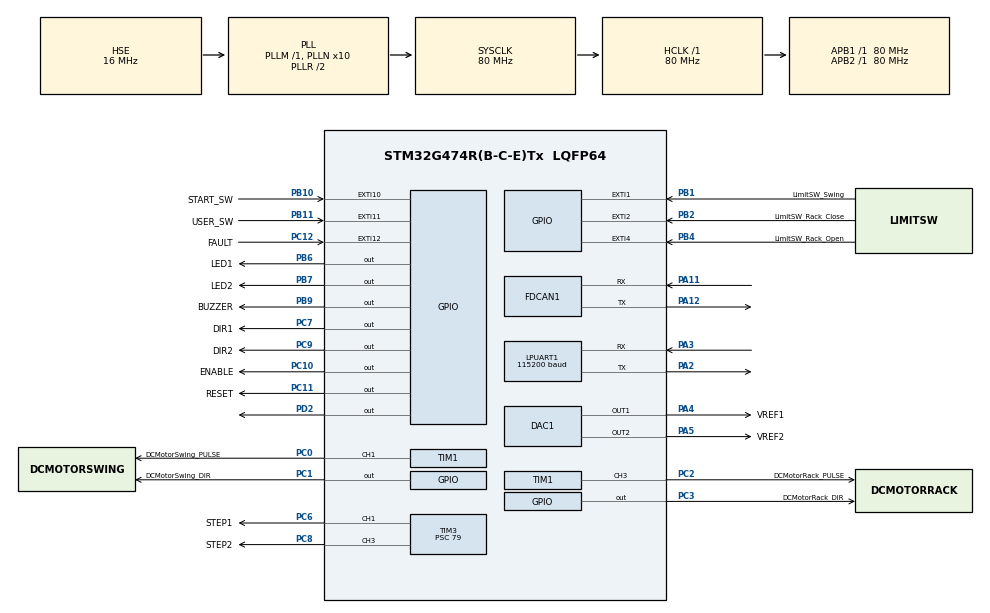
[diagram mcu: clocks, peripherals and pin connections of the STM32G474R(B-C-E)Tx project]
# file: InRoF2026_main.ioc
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DAC1.DAC_Channel-DAC_OUT2=DAC_CHANNEL_2
FDCAN1.AutoRetransmission=ENABLE
FDCAN1.CalculateBaudRateNominal=1000000
FDCAN1.CalculateTimeBitNominal=1000
FDCAN1.CalculateTimeQuantumNominal=50.0
FDCAN1.DataPrescaler=2
FDCAN1.DataTimeSeg1=15
FDCAN1.DataTimeSeg2=4
FDCAN1.FrameFormat=FDCAN_FRAME_FD_BRS
FDCAN1.NominalPrescaler=4
FDCAN1.NominalTimeSeg1=15
FDCAN1.NominalTimeSeg2=4
FDCAN1.ProtocolException=ENABLE
FDCAN1.StdFiltersNbr=5
LPUART1.BaudRate=115200
Mcu.Family=STM32G4
Mcu.Name=STM32G474R(B-C-E)Tx
Mcu.Package=LQFP64
NVIC.EXTI15_10_IRQn=true\:0\:0\:false\:false\:true\:true\:true\:true
NVIC.EXTI1_IRQn=true\:0\:0\:false\:false\:true\:true\:true\:true
NVIC.EXTI2_IRQn=true\:0\:0\:false\:false\:true\:true\:true\:true
NVIC.EXTI4_IRQn=true\:0\:0\:false\:false\:true\:true\:true\:true
NVIC.FDCAN1_IT0_IRQn=true\:0\:0\:false\:false\:true\:true\:true\:true
NVIC.FDCAN1_IT1_IRQn=true\:0\:0\:false\:false\:true\:true\:true\:true
NVIC.PriorityGroup=NVIC_PRIORITYGROUP_4
NVIC.TIM3_IRQn=true\:0\:0\:false\:false\:true\:true\:true\:true
NVIC.TIM7_DAC_IRQn=true\:6\:0\:true\:false\:true\:true\:true\:true
PA11.Mode=FDCAN_Activate
PA11.Signal=FDCAN1_RX
PA12.Mode=FDCAN_Activate
PA12.Signal=FDCAN1_TX
PA13.Mode=Serial_Wire
PA13.Signal=SYS_JTMS-SWDIO
PA14.Mode=Serial_Wire
PA14.Signal=SYS_JTCK-SWCLK
PA2.Mode=Asynchronous
PA2.Signal=LPUART1_TX
PA3.Mode=Asynchronous
PA3.Signal=LPUART1_RX
PA4.GPIO_Label=VREF1
PA4.Signal=COMP_DAC11_group
PA5.GPIO_Label=VREF2
PA5.Signal=COMP_DAC12_group
PB1.GPIO_Label=LimitSW_Swing
PB1.GPIO_ModeDefaultEXTI=GPIO_MODE_IT_FALLING
PB1.GPIO_PuPd=GPIO_PULLUP
PB1.Signal=GPXTI1
PB10.GPIO_Label=START_SW
PB10.GPIO_ModeDefaultEXTI=GPIO_MODE_IT_FALLING
PB10.GPIO_PuPd=GPIO_PULLUP
PB10.Signal=GPXTI10
PB11.GPIO_Label=USER_SW
PB11.GPIO_ModeDefaultEXTI=GPIO_MODE_IT_FALLING
PB11.GPIO_PuPd=GPIO_PULLUP
PB11.Signal=GPXTI11
PB2.GPIO_Label=LimitSW_Rack_Close
PB2.GPIO_ModeDefaultEXTI=GPIO_MODE_IT_FALLING
PB2.GPIO_PuPd=GPIO_PULLUP
PB2.Signal=GPXTI2
PB4.GPIO_Label=LimitSW_Rack_Open
PB4.GPIO_ModeDefaultEXTI=GPIO_MODE_IT_FALLING
PB4.GPIO_PuPd=GPIO_PULLUP
PB4.Signal=GPXTI4
PB6.GPIO_Label=LED1
PB6.Signal=GPIO_Output
PB7.GPIO_Label=LED2
PB7.Signal=GPIO_Output
PB9.GPIO_Label=BUZZER
PB9.Signal=GPIO_Output
PC0.GPIO_Label=DCMotorSwing_PULSE
PC0.Signal=S_TIM1_CH1
PC1.GPIO_Label=DCMotorSwing_DIR
PC1.Signal=GPIO_Output
PC10.GPIO_Label=ENABLE
PC10.Signal=GPIO_Output
PC11.GPIO_Label=RESET
PC11.Signal=GPIO_Output
PC12.GPIO_Label=FAULT
PC12.GPIO_ModeDefaultEXTI=GPIO_MODE_IT_FALLING
PC12.GPIO_PuPd=GPIO_PULLUP
PC12.Signal=GPXTI12
PC2.GPIO_Label=DCMotorRack_PULSE
PC2.Signal=S_TIM1_CH3
PC3.GPIO_Label=DCMotorRack_DIR
PC3.Signal=GPIO_Output
PC6.GPIO_Label=STEP1
PC6.Signal=S_TIM3_CH1
PC7.GPIO_Label=DIR1
PC7.Signal=GPIO_Output
PC8.GPIO_Label=STEP2
PC8.Signal=S_TIM3_CH3
PC9.GPIO_Label=DIR2
PC9.Signal=GPIO_Output
PD2.Signal=GPIO_Output
PF0-OSC_IN.Mode=HSE-External-Oscillator
PF0-OSC_IN.Signal=RCC_OSC_IN
PF1-OSC_OUT.Mode=HSE-External-Oscillator
PF1-OSC_OUT.Signal=RCC_OSC_OUT
ProjectManager.HeapSize=0x200
ProjectManager.StackSize=0x400
ProjectManager.TargetToolchain=CMake
RCC.ADC12Freq_Value=80000000
RCC.ADC345Freq_Value=80000000
RCC.AHBFreq_Value=80000000
RCC.APB1Freq_Value=80000000
RCC.APB1TimFreq_Value=80000000
RCC.APB2Freq_Value=80000000
RCC.APB2TimFreq_Value=80000000
RCC.CortexFreq_Value=80000000
RCC.EXTERNAL_CLOCK_VALUE=12288000
RCC.HCLKFreq_Value=80000000
RCC.HSE_VALUE=16000000
RCC.HSI48_VALUE=48000000
RCC.HSI_VALUE=16000000
RCC.LSE_VALUE=32768
RCC.PLLN=10
RCC.PLLSourceVirtual=RCC_PLLSOURCE_HSE
RCC.SYSCLKFreq_VALUE=80000000
RCC.SYSCLKSource=RCC_SYSCLKSOURCE_PLLCLK
RCC.USBFreq_Value=80000000
RCC.VCOOutputFreq_Value=160000000
SH.COMP_DAC11_group.0=DAC1_OUT1,DAC_OUT1
SH.COMP_DAC12_group.0=DAC1_OUT2,DAC_OUT2
SH.S_TIM1_CH1.0=TIM1_CH1,PWM Generation1 CH1
SH.S_TIM1_CH3.0=TIM1_CH3,PWM Generation3 CH3
SH.S_TIM3_CH1.0=TIM3_CH1,Output Compare1 CH1
SH.S_TIM3_CH3.0=TIM3_CH3,Output Compare3 CH3
TIM1.Channel-PWM\ Generation1\ CH1=TIM_CHANNEL_1
TIM1.Channel-PWM\ Generation3\ CH3=TIM_CHANNEL_3
TIM1.PeriodNoDither=99
TIM1.Prescaler=7999
TIM3.Channel-Output\ Compare1\ CH1=TIM_CHANNEL_1
TIM3.Channel-Output\ Compare3\ CH3=TIM_CHANNEL_3
TIM3.OCMode_1=TIM_OCMODE_TOGGLE
TIM3.OCMode_3=TIM_OCMODE_TOGGLE
TIM3.Prescaler=79
TIM7.PeriodNoDither=199
TIM7.Prescaler=79
VP_FMAC_VS_FMAC.Mode=FMAC_Activate
VP_SYS_VS_DBSignals.Mode=DisableDeadBatterySignals
VP_TIM7_VS_ClockSourceINT.Mode=Enable_Timer
board=custom

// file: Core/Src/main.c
/* USER CODE BEGIN Header */
/**
  ******************************************************************************
  * @file           : main.c
  * @brief          : Main program body
  ******************************************************************************
  * @attention
  *
  * Copyright (c) 2026 STMicroelectronics.
  * All rights reserved.
  *
  * This software is licensed under terms that can be found in the LICENSE file
  * in the root directory of this software component.
  * If no LICENSE file comes with this software, it is provided AS-IS.
  *
  ******************************************************************************
  */
/* USER CODE END Header */
#include "main.h"

/* USER CODE BEGIN Includes */
#include "algorithm.h"
#include "board.h"
#include "canrpc.h"
#include "robot_can.h"
#include "robot_control.h"
#include "sequence.h"
#include <stddef.h>
#include <stdio.h>

/* USER CODE END Includes */

/* USER CODE BEGIN PD */
#define ROBOT_START_CANRPC_TIMEOUT_MS  1000u
#define ROBOT_COLOR_READ_TIMEOUT_MS  1000u
#define ROBOT_POSITION_SQUARE_SIDE_MM  500.0f
#define ROBOT_INITIAL_POSE_X_MM        250
#define ROBOT_INITIAL_POSE_Y_MM        250
#define ROBOT_INITIAL_POSE_H_MRAD      0
#define ROBOT_ENABLE_RP2_CALIBRATION   0

#define TOPIC_POSE2D             0x10u

/* USER CODE END PD */

DAC_HandleTypeDef hdac1;

FDCAN_HandleTypeDef hfdcan1;

FMAC_HandleTypeDef hfmac;

UART_HandleTypeDef hlpuart1;

TIM_HandleTypeDef htim1;
TIM_HandleTypeDef htim3;
TIM_HandleTypeDef htim7;

void SystemClock_Config(void);
static void MX_GPIO_Init(void);
static void MX_FDCAN1_Init(void);
static void MX_FMAC_Init(void);
static void MX_DAC1_Init(void);
static void MX_TIM1_Init(void);
static void MX_TIM3_Init(void);
static void MX_LPUART1_UART_Init(void);
static void MX_TIM7_Init(void);
/* USER CODE BEGIN PFP */
static void Robot_SendStartCommandToRemoteNodes(void);
static void Robot_OnCanrpcPublish(uint8_t node, uint8_t topic, const uint8_t *data, uint8_t len);
static float Robot_PoseHeadingToNodeRad(int32_t h_mrad);
static uint16_t Robot_GetU16Le(const uint8_t *p);
static uint32_t Robot_GetU32Le(const uint8_t *p);
static int32_t Robot_GetI32Le(const uint8_t *p);

/* USER CODE END PFP */

/* USER CODE BEGIN 0 */
int _write(int file, char *ptr, int len)
{
  (void)file;
  if (len <= 0) {
    return 0;
  }

  uint32_t timeout_ms = (uint32_t)len + 20u;
  (void)HAL_UART_Transmit(&hlpuart1, (uint8_t *)ptr, (uint16_t)len, timeout_ms);
  return len;
}
/* USER CODE END 0 */

int main(void)
{

  /* MCU Configuration--------------------------------------------------------*/

  /* Reset of all peripherals, Initializes the Flash interface and the Systick. */
  HAL_Init();

  /* Configure the system clock */
  SystemClock_Config();

  /* Initialize all configured peripherals */
  MX_GPIO_Init();
  MX_FDCAN1_Init();
  MX_FMAC_Init();
  MX_DAC1_Init();
  MX_TIM1_Init();
  MX_TIM3_Init();
  MX_LPUART1_UART_Init();
  MX_TIM7_Init();
  /* USER CODE BEGIN 2 */
  Board_Init();
  Board_StepperStopAll();
  Board_DCMotorSwingStop();
  Board_DCMotorRackStop();
  canrpc_init(NODE_MASTER);
  if (!canrpc_start(NODE_MASTER)) {
    Error_Handler();
  }
  canrpc_set_pub_handler(Robot_OnCanrpcPublish);
  RobotControl_Init();
  Algorithm_SensorInit();
  if (HAL_TIM_Base_Start_IT(&htim7) != HAL_OK) {
    Error_Handler();
  }
  Board_ClearStartSwitchInterruptStatus();
  Board_WaitForStartSwitchInterrupt();
  Robot_SendStartCommandToRemoteNodes();
  Board_StepperStopAll();

  /* USER CODE END 2 */

  /* Infinite loop */
  /* USER CODE BEGIN WHILE */
  while (1) {
    RobotControl_SetCurrentPose(
        250,
        -250,
        0
    );

    //Calibrate RP1
    Sequence_CallibrateRP1();

    (void)RobotControl_IssueMoveToPose_mm_deg(300, 250, 90);
    Sequence_WaitForRobotCommand();
    (void)Algorithm_ServoOpenCloseBlocking(NULL, 100);  //Free ball
    HAL_Delay(500);

    (void)RobotControl_IssueMoveToPose_mm_deg(880, 162.5, 90);
    Board_DCMotorRackOpenUntilLimit();
    Sequence_WaitForRobotCommand();
    Sequence_CollectBalls();
    Sequence_PlaceStoredBalls();

    (void)RobotControl_IssueMoveToPose_mm_deg(1340, 162.5, 90);
    Board_DCMotorRackOpenUntilLimit();
    Sequence_WaitForRobotCommand();
    Sequence_CollectBalls();
    Sequence_IssueMoveToRP2();
    Sequence_WaitForRobotCommand();
#if ROBOT_ENABLE_RP2_CALIBRATION
    Sequence_CallibrateRP2();
#endif
    Sequence_PlaceStoredBalls();

    static const struct {
      float x_mm;
      float y_mm;
      float heading_deg;
    } robot_rp2_collection_points[] = {
        {1110.0f, 325.0f, 0.0f},
        {1570.0f, 325.0f, 0.0f},
        {1110.0f, 650.0f, 0.0f},
        {1570.0f, 650.0f, 0.0f},
        {1110.0f, 975.0f, 0.0f},
        {1570.0f, 975.0f, 0.0f},
    };

    for (size_t i = 0; i < (sizeof(robot_rp2_collection_points) / sizeof(robot_rp2_collection_points[0])); i++) {
      Sequence_IssueMoveToRP2();
      Board_DCMotorRackOpenUntilLimit();
      Sequence_WaitForRobotCommand();
      (void)RobotControl_IssueMoveToPose_mm_deg(
          robot_rp2_collection_points[i].x_mm,
          robot_rp2_collection_points[i].y_mm,
          robot_rp2_collection_points[i].heading_deg
      );
      Sequence_WaitForRobotCommand();
      Sequence_CollectBalls();
      Sequence_IssueMoveToRP2();
      Sequence_WaitForRobotCommand();
#if ROBOT_ENABLE_RP2_CALIBRATION
      Sequence_CallibrateRP2();
#endif
      Sequence_PlaceStoredBalls();
    }

    while (1){} //stop loop
  }
  /* USER CODE END 3 */
}

void SystemClock_Config(void)
{
  RCC_OscInitTypeDef RCC_OscInitStruct = {0};
  RCC_ClkInitTypeDef RCC_ClkInitStruct = {0};

  /** Configure the main internal regulator output voltage
  */
  HAL_PWREx_ControlVoltageScaling(PWR_REGULATOR_VOLTAGE_SCALE1);

  /** Initializes the RCC Oscillators according to the specified parameters
  * in the RCC_OscInitTypeDef structure.
  */
  RCC_OscInitStruct.OscillatorType = RCC_OSCILLATORTYPE_HSE;
  RCC_OscInitStruct.HSEState = RCC_HSE_ON;
  RCC_OscInitStruct.PLL.PLLState = RCC_PLL_ON;
  RCC_OscInitStruct.PLL.PLLSource = RCC_PLLSOURCE_HSE;
  RCC_OscInitStruct.PLL.PLLM = RCC_PLLM_DIV1;
  RCC_OscInitStruct.PLL.PLLN = 10;
  RCC_OscInitStruct.PLL.PLLP = RCC_PLLP_DIV2;
  RCC_OscInitStruct.PLL.PLLQ = RCC_PLLQ_DIV2;
  RCC_OscInitStruct.PLL.PLLR = RCC_PLLR_DIV2;
  if (HAL_RCC_OscConfig(&RCC_OscInitStruct) != HAL_OK)
  {
    Error_Handler();
  }

  /** Initializes the CPU, AHB and APB buses clocks
  */
  RCC_ClkInitStruct.ClockType = RCC_CLOCKTYPE_HCLK|RCC_CLOCKTYPE_SYSCLK
                              |RCC_CLOCKTYPE_PCLK1|RCC_CLOCKTYPE_PCLK2;
  RCC_ClkInitStruct.SYSCLKSource = RCC_SYSCLKSOURCE_PLLCLK;
  RCC_ClkInitStruct.AHBCLKDivider = RCC_SYSCLK_DIV1;
  RCC_ClkInitStruct.APB1CLKDivider = RCC_HCLK_DIV1;
  RCC_ClkInitStruct.APB2CLKDivider = RCC_HCLK_DIV1;

  if (HAL_RCC_ClockConfig(&RCC_ClkInitStruct, FLASH_LATENCY_2) != HAL_OK)
  {
    Error_Handler();
  }
}

static void MX_DAC1_Init(void)
{

  DAC_ChannelConfTypeDef sConfig = {0};

  /** DAC Initialization
  */
  hdac1.Instance = DAC1;
  if (HAL_DAC_Init(&hdac1) != HAL_OK)
  {
    Error_Handler();
  }

  /** DAC channel OUT1 config
  */
  sConfig.DAC_HighFrequency = DAC_HIGH_FREQUENCY_INTERFACE_MODE_AUTOMATIC;
  sConfig.DAC_DMADoubleDataMode = DISABLE;
  sConfig.DAC_SignedFormat = DISABLE;
  sConfig.DAC_SampleAndHold = DAC_SAMPLEANDHOLD_DISABLE;
  sConfig.DAC_Trigger = DAC_TRIGGER_NONE;
  sConfig.DAC_Trigger2 = DAC_TRIGGER_NONE;
  sConfig.DAC_OutputBuffer = DAC_OUTPUTBUFFER_ENABLE;
  sConfig.DAC_ConnectOnChipPeripheral = DAC_CHIPCONNECT_EXTERNAL;
  sConfig.DAC_UserTrimming = DAC_TRIMMING_FACTORY;
  if (HAL_DAC_ConfigChannel(&hdac1, &sConfig, DAC_CHANNEL_1) != HAL_OK)
  {
    Error_Handler();
  }

  /** DAC channel OUT2 config
  */
  if (HAL_DAC_ConfigChannel(&hdac1, &sConfig, DAC_CHANNEL_2) != HAL_OK)
  {
    Error_Handler();
  }

}

static void MX_FDCAN1_Init(void)
{

  hfdcan1.Instance = FDCAN1;
  hfdcan1.Init.ClockDivider = FDCAN_CLOCK_DIV1;
  hfdcan1.Init.FrameFormat = FDCAN_FRAME_FD_BRS;
  hfdcan1.Init.Mode = FDCAN_MODE_NORMAL;
  hfdcan1.Init.AutoRetransmission = ENABLE;
  hfdcan1.Init.TransmitPause = DISABLE;
  hfdcan1.Init.ProtocolException = ENABLE;
  hfdcan1.Init.NominalPrescaler = 4;
  hfdcan1.Init.NominalSyncJumpWidth = 1;
  hfdcan1.Init.NominalTimeSeg1 = 15;
  hfdcan1.Init.NominalTimeSeg2 = 4;
  hfdcan1.Init.DataPrescaler = 2;
  hfdcan1.Init.DataSyncJumpWidth = 1;
  hfdcan1.Init.DataTimeSeg1 = 15;
  hfdcan1.Init.DataTimeSeg2 = 4;
  hfdcan1.Init.StdFiltersNbr = 5;
  hfdcan1.Init.ExtFiltersNbr = 0;
  hfdcan1.Init.TxFifoQueueMode = FDCAN_TX_FIFO_OPERATION;
  if (HAL_FDCAN_Init(&hfdcan1) != HAL_OK)
  {
    Error_Handler();
  }

}

static void MX_FMAC_Init(void)
{

  hfmac.Instance = FMAC;
  if (HAL_FMAC_Init(&hfmac) != HAL_OK)
  {
    Error_Handler();
  }

}

static void MX_LPUART1_UART_Init(void)
{

  hlpuart1.Instance = LPUART1;
  hlpuart1.Init.BaudRate = 115200;
  hlpuart1.Init.WordLength = UART_WORDLENGTH_8B;
  hlpuart1.Init.StopBits = UART_STOPBITS_1;
  hlpuart1.Init.Parity = UART_PARITY_NONE;
  hlpuart1.Init.Mode = UART_MODE_TX_RX;
  hlpuart1.Init.HwFlowCtl = UART_HWCONTROL_NONE;
  hlpuart1.Init.OneBitSampling = UART_ONE_BIT_SAMPLE_DISABLE;
  hlpuart1.Init.ClockPrescaler = UART_PRESCALER_DIV1;
  hlpuart1.AdvancedInit.AdvFeatureInit = UART_ADVFEATURE_NO_INIT;
  if (HAL_UART_Init(&hlpuart1) != HAL_OK)
  {
    Error_Handler();
  }
  if (HAL_UARTEx_SetTxFifoThreshold(&hlpuart1, UART_TXFIFO_THRESHOLD_1_8) != HAL_OK)
  {
    Error_Handler();
  }
  if (HAL_UARTEx_SetRxFifoThreshold(&hlpuart1, UART_RXFIFO_THRESHOLD_1_8) != HAL_OK)
  {
    Error_Handler();
  }
  if (HAL_UARTEx_DisableFifoMode(&hlpuart1) != HAL_OK)
  {
    Error_Handler();
  }

}

static void MX_TIM1_Init(void)
{

  TIM_MasterConfigTypeDef sMasterConfig = {0};
  TIM_OC_InitTypeDef sConfigOC = {0};
  TIM_BreakDeadTimeConfigTypeDef sBreakDeadTimeConfig = {0};

  htim1.Instance = TIM1;
  htim1.Init.Prescaler = 7999;
  htim1.Init.CounterMode = TIM_COUNTERMODE_UP;
  htim1.Init.Period = 99;
  htim1.Init.ClockDivision = TIM_CLOCKDIVISION_DIV1;
  htim1.Init.RepetitionCounter = 0;
  htim1.Init.AutoReloadPreload = TIM_AUTORELOAD_PRELOAD_DISABLE;
  if (HAL_TIM_PWM_Init(&htim1) != HAL_OK)
  {
    Error_Handler();
  }
  sMasterConfig.MasterOutputTrigger = TIM_TRGO_RESET;
  sMasterConfig.MasterOutputTrigger2 = TIM_TRGO2_RESET;
  sMasterConfig.MasterSlaveMode = TIM_MASTERSLAVEMODE_DISABLE;
  if (HAL_TIMEx_MasterConfigSynchronization(&htim1, &sMasterConfig) != HAL_OK)
  {
    Error_Handler();
  }
  sConfigOC.OCMode = TIM_OCMODE_PWM1;
  sConfigOC.Pulse = 0;
  sConfigOC.OCPolarity = TIM_OCPOLARITY_HIGH;
  sConfigOC.OCNPolarity = TIM_OCNPOLARITY_HIGH;
  sConfigOC.OCFastMode = TIM_OCFAST_DISABLE;
  sConfigOC.OCIdleState = TIM_OCIDLESTATE_RESET;
  sConfigOC.OCNIdleState = TIM_OCNIDLESTATE_RESET;
  if (HAL_TIM_PWM_ConfigChannel(&htim1, &sConfigOC, TIM_CHANNEL_1) != HAL_OK)
  {
    Error_Handler();
  }
  if (HAL_TIM_PWM_ConfigChannel(&htim1, &sConfigOC, TIM_CHANNEL_3) != HAL_OK)
  {
    Error_Handler();
  }
  sBreakDeadTimeConfig.OffStateRunMode = TIM_OSSR_DISABLE;
  sBreakDeadTimeConfig.OffStateIDLEMode = TIM_OSSI_DISABLE;
  sBreakDeadTimeConfig.LockLevel = TIM_LOCKLEVEL_OFF;
  sBreakDeadTimeConfig.DeadTime = 0;
  sBreakDeadTimeConfig.BreakState = TIM_BREAK_DISABLE;
  sBreakDeadTimeConfig.BreakPolarity = TIM_BREAKPOLARITY_HIGH;
  sBreakDeadTimeConfig.BreakFilter = 0;
  sBreakDeadTimeConfig.BreakAFMode = TIM_BREAK_AFMODE_INPUT;
  sBreakDeadTimeConfig.Break2State = TIM_BREAK2_DISABLE;
  sBreakDeadTimeConfig.Break2Polarity = TIM_BREAK2POLARITY_HIGH;
  sBreakDeadTimeConfig.Break2Filter = 0;
  sBreakDeadTimeConfig.Break2AFMode = TIM_BREAK_AFMODE_INPUT;
  sBreakDeadTimeConfig.AutomaticOutput = TIM_AUTOMATICOUTPUT_DISABLE;
  if (HAL_TIMEx_ConfigBreakDeadTime(&htim1, &sBreakDeadTimeConfig) != HAL_OK)
  {
    Error_Handler();
  }
  HAL_TIM_MspPostInit(&htim1);

}

static void MX_TIM3_Init(void)
{

  TIM_MasterConfigTypeDef sMasterConfig = {0};
  TIM_OC_InitTypeDef sConfigOC = {0};

  htim3.Instance = TIM3;
  htim3.Init.Prescaler = 79;
  htim3.Init.CounterMode = TIM_COUNTERMODE_UP;
  htim3.Init.Period = 65535;
  htim3.Init.ClockDivision = TIM_CLOCKDIVISION_DIV1;
  htim3.Init.AutoReloadPreload = TIM_AUTORELOAD_PRELOAD_DISABLE;
  if (HAL_TIM_OC_Init(&htim3) != HAL_OK)
  {
    Error_Handler();
  }
  sMasterConfig.MasterOutputTrigger = TIM_TRGO_RESET;
  sMasterConfig.MasterSlaveMode = TIM_MASTERSLAVEMODE_DISABLE;
  if (HAL_TIMEx_MasterConfigSynchronization(&htim3, &sMasterConfig) != HAL_OK)
  {
    Error_Handler();
  }
  sConfigOC.OCMode = TIM_OCMODE_TOGGLE;
  sConfigOC.Pulse = 0;
  sConfigOC.OCPolarity = TIM_OCPOLARITY_HIGH;
  sConfigOC.OCFastMode = TIM_OCFAST_DISABLE;
  if (HAL_TIM_OC_ConfigChannel(&htim3, &sConfigOC, TIM_CHANNEL_1) != HAL_OK)
  {
    Error_Handler();
  }
  if (HAL_TIM_OC_ConfigChannel(&htim3, &sConfigOC, TIM_CHANNEL_3) != HAL_OK)
  {
    Error_Handler();
  }
  HAL_TIM_MspPostInit(&htim3);

}

static void MX_TIM7_Init(void)
{

  TIM_MasterConfigTypeDef sMasterConfig = {0};

  htim7.Instance = TIM7;
  htim7.Init.Prescaler = 79;
  htim7.Init.CounterMode = TIM_COUNTERMODE_UP;
  htim7.Init.Period = 199;
  htim7.Init.AutoReloadPreload = TIM_AUTORELOAD_PRELOAD_DISABLE;
  if (HAL_TIM_Base_Init(&htim7) != HAL_OK)
  {
    Error_Handler();
  }
  sMasterConfig.MasterOutputTrigger = TIM_TRGO_RESET;
  sMasterConfig.MasterSlaveMode = TIM_MASTERSLAVEMODE_DISABLE;
  if (HAL_TIMEx_MasterConfigSynchronization(&htim7, &sMasterConfig) != HAL_OK)
  {
    Error_Handler();
  }

}

static void MX_GPIO_Init(void)
{
  GPIO_InitTypeDef GPIO_InitStruct = {0};

  /* GPIO Ports Clock Enable */
  __HAL_RCC_GPIOF_CLK_ENABLE();
  __HAL_RCC_GPIOC_CLK_ENABLE();
  __HAL_RCC_GPIOA_CLK_ENABLE();
  __HAL_RCC_GPIOB_CLK_ENABLE();
  __HAL_RCC_GPIOD_CLK_ENABLE();

  /*Configure GPIO pin Output Level */
  HAL_GPIO_WritePin(GPIOC, DCMotorSwing_DIR_Pin|DCMotorRack_DIR_Pin|DIR1_Pin|DIR2_Pin
                          |ENABLE_Pin|RESET_Pin, GPIO_PIN_RESET);

  /*Configure GPIO pin Output Level */
  HAL_GPIO_WritePin(GPIOD, GPIO_PIN_2, GPIO_PIN_RESET);

  /*Configure GPIO pin Output Level */
  HAL_GPIO_WritePin(GPIOB, LED1_Pin|LED2_Pin|BUZZER_Pin, GPIO_PIN_RESET);

  /*Configure GPIO pins : DCMotorSwing_DIR_Pin DCMotorRack_DIR_Pin DIR1_Pin DIR2_Pin
                           ENABLE_Pin RESET_Pin */
  GPIO_InitStruct.Pin = DCMotorSwing_DIR_Pin|DCMotorRack_DIR_Pin|DIR1_Pin|DIR2_Pin
                          |ENABLE_Pin|RESET_Pin;
  GPIO_InitStruct.Mode = GPIO_MODE_OUTPUT_PP;
  GPIO_InitStruct.Pull = GPIO_NOPULL;
  GPIO_InitStruct.Speed = GPIO_SPEED_FREQ_LOW;
  HAL_GPIO_Init(GPIOC, &GPIO_InitStruct);

  /*Configure GPIO pins : LimitSW_Swing_Pin LimitSW_Rack_Close_Pin START_SW_Pin USER_SW_Pin
                           LimitSW_Rack_Open_Pin */
  GPIO_InitStruct.Pin = LimitSW_Swing_Pin|LimitSW_Rack_Close_Pin|START_SW_Pin|USER_SW_Pin
                          |LimitSW_Rack_Open_Pin;
  GPIO_InitStruct.Mode = GPIO_MODE_IT_FALLING;
  GPIO_InitStruct.Pull = GPIO_PULLUP;
  HAL_GPIO_Init(GPIOB, &GPIO_InitStruct);

  /*Configure GPIO pin : FAULT_Pin */
  GPIO_InitStruct.Pin = FAULT_Pin;
  GPIO_InitStruct.Mode = GPIO_MODE_IT_FALLING;
  GPIO_InitStruct.Pull = GPIO_PULLUP;
  HAL_GPIO_Init(FAULT_GPIO_Port, &GPIO_InitStruct);

  /*Configure GPIO pin : PD2 */
  GPIO_InitStruct.Pin = GPIO_PIN_2;
  GPIO_InitStruct.Mode = GPIO_MODE_OUTPUT_PP;
  GPIO_InitStruct.Pull = GPIO_NOPULL;
  GPIO_InitStruct.Speed = GPIO_SPEED_FREQ_LOW;
  HAL_GPIO_Init(GPIOD, &GPIO_InitStruct);

  /*Configure GPIO pins : LED1_Pin LED2_Pin BUZZER_Pin */
  GPIO_InitStruct.Pin = LED1_Pin|LED2_Pin|BUZZER_Pin;
  GPIO_InitStruct.Mode = GPIO_MODE_OUTPUT_PP;
  GPIO_InitStruct.Pull = GPIO_NOPULL;
  GPIO_InitStruct.Speed = GPIO_SPEED_FREQ_LOW;
  HAL_GPIO_Init(GPIOB, &GPIO_InitStruct);

  /* EXTI interrupt init*/
  HAL_NVIC_SetPriority(EXTI1_IRQn, 0, 0);
  HAL_NVIC_EnableIRQ(EXTI1_IRQn);

  HAL_NVIC_SetPriority(EXTI2_IRQn, 0, 0);
  HAL_NVIC_EnableIRQ(EXTI2_IRQn);

  HAL_NVIC_SetPriority(EXTI4_IRQn, 0, 0);
  HAL_NVIC_EnableIRQ(EXTI4_IRQn);

  HAL_NVIC_SetPriority(EXTI15_10_IRQn, 0, 0);
  HAL_NVIC_EnableIRQ(EXTI15_10_IRQn);

}

/* USER CODE BEGIN 4 */
static void Robot_SendStartCommandToRemoteNodes(void)
{
  int sensor_handle = canrpc_call(NODE_SENSOR, CMD_SYSTEM_START, 0);
  int servo_handle = canrpc_call(NODE_SERVO, CMD_SYSTEM_START, 0);

  if ((sensor_handle < 0) || (servo_handle < 0)) {
    Error_Handler();
  }

  uint32_t wait_mask = CANRPC_H(sensor_handle) | CANRPC_H(servo_handle);
  int rc = canrpc_wait(wait_mask, ROBOT_START_CANRPC_TIMEOUT_MS);
  if (rc != 0) {
    volatile uint8_t sensor_result = canrpc_result(sensor_handle);
    volatile uint8_t servo_result = canrpc_result(servo_handle);
    (void)sensor_result;
    (void)servo_result;
    Error_Handler();
  }
}

static void Robot_OnCanrpcPublish(uint8_t node, uint8_t topic, const uint8_t *data, uint8_t len)
{
  Algorithm_SensorOnCanrpcPublish(node, topic, data, len);

  if (node != NODE_SENSOR || topic != TOPIC_POSE2D || data == NULL || len < 19u) {
    return;
  }

  int32_t sensor_x_mm = Robot_GetI32Le(&data[5]);
  int32_t sensor_y_mm = Robot_GetI32Le(&data[9]);

  RobotControl_UpdatePose2D(
      data[0],
      Robot_GetU32Le(&data[1]),
      sensor_y_mm,
      -sensor_x_mm,
      Robot_PoseHeadingToNodeRad(Robot_GetI32Le(&data[13])),
      Robot_GetU16Le(&data[17])
  );
}

static float Robot_PoseHeadingToNodeRad(int32_t h_mrad)
{
  return -(float)h_mrad * 0.001f;
}

static uint16_t Robot_GetU16Le(const uint8_t *p)
{
  return (uint16_t)p[0] | ((uint16_t)p[1] << 8);
}

static uint32_t Robot_GetU32Le(const uint8_t *p)
{
  return (uint32_t)p[0] |
         ((uint32_t)p[1] << 8) |
         ((uint32_t)p[2] << 16) |
         ((uint32_t)p[3] << 24);
}

static int32_t Robot_GetI32Le(const uint8_t *p)
{
  return (int32_t)Robot_GetU32Le(p);
}

/* USER CODE END 4 */

void Error_Handler(void)
{
  __disable_irq();
  while (1)
  {
  }
}
